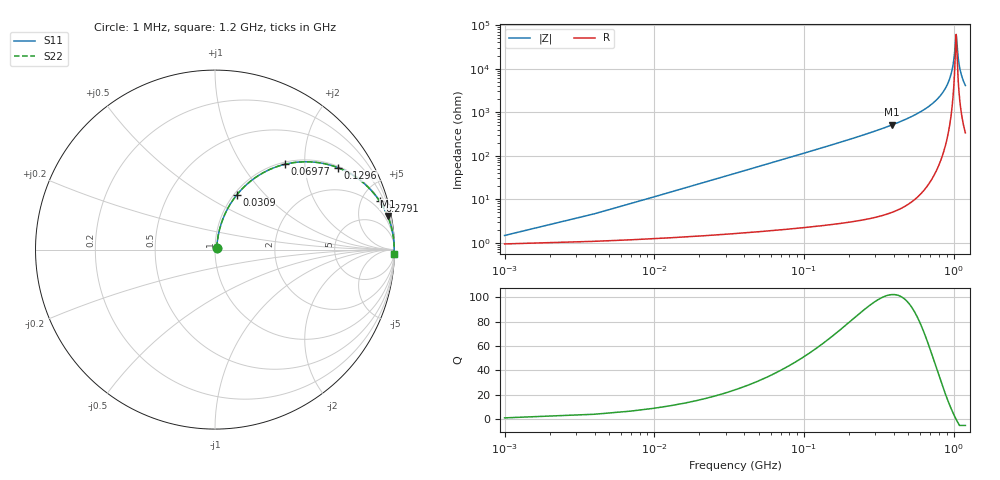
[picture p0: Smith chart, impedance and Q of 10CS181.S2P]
! Coilcraft 1008CS-181 Chip Inductor
! 02 July 2002
# MHZ S MA R 50
!Freq  MagS11  AngS11  MagS21  AngS21  MagS12  AngS12  MagS22  AngS22
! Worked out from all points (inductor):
!   403 points, 1 MHz to 1.2 GHz, reference 50 ohm
!   read as one part in series: L = 180 nH near 6.98 MHz
!   highest Q = 102 at 389.7 MHz (marker M1), where L = 209 nH
!   self-resonance near 1.039 GHz
!   S11 on the Smith chart (normalised r, x): 1 MHz: 1.02, +0.02; 30.9 MHz: 1.03, +0.70; 69.77 MHz: 1.04, +1.59; 129.6 MHz: 1.05, +2.98; 279.1 MHz: 1.07, +6.80; 1.2 GHz: 8, -82
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1  0.01457 49.6  0.9906 -0.6  0.9906 -0.6  0.01457 49.6
9.97  0.1114 77.4  0.9817 -6.4  0.9817 -6.4  0.1114 77.4
12.96  0.1438 76.7  0.977 -8.2  0.977 -8.2  0.1438 76.7
21.93  0.238 72.9  0.9574 -13.7  0.9574 -13.7  0.238 72.9
30.9  0.3259 68.4  0.9308 -19.0  0.9308 -19.0  0.3259 68.4
69.77  0.6139 50.7  0.7742 -37.9  0.7742 -37.9  0.6139 50.7
129.57  0.8239 33.6  0.5534 -55.5  0.5534 -55.5  0.8239 33.6
201.33  0.917 22.8  0.3876 -66.5  0.3876 -66.5  0.917 22.8
279.07  0.9566 16.3  0.2813 -73.1  0.2813 -73.1  0.9566 16.3
389.7  0.9797 11.0  0.1911 -78.4  0.1911 -78.4  0.9797 11.0
401.66  0.9812 10.6  0.1838 -78.8  0.1838 -78.8  0.9812 10.6
601.99  0.994 5.6  0.09713 -83.7  0.09713 -83.7  0.994 5.6
802.32  0.9977 2.6  0.04459 -85.8  0.04459 -85.8  0.9977 2.6
930.89  0.9984 1.1  0.01898 -84.6  0.01898 -84.6  0.9984 1.1
972.75  0.9984 0.7  0.01153 -81.9  0.01153 -81.9  0.9984 0.7
1002.65  0.9984 0.4  0.006482 -75.8  0.006482 -75.8  0.9984 0.4
1035.54  0.9984 0.0  0.001809 -26.8  0.001809 -26.8  0.9984 0.0
1041.52  0.9984 -0.0  0.001633 5.6  0.001633 5.6  0.9984 -0.0
1071.42  0.9983 -0.3  0.00524 70.9  0.00524 70.9  0.9983 -0.3
1098.33  0.9982 -0.5  0.009336 78.7  0.009336 78.7  0.9982 -0.5
1140.19  0.998 -0.9  0.01564 82.3  0.01564 82.3  0.998 -0.9
1200  0.9977 -1.4  0.02433 83.9  0.02433 83.9  0.9977 -1.4
